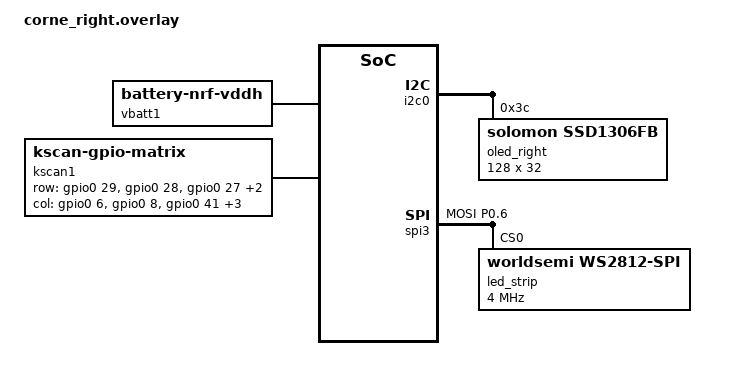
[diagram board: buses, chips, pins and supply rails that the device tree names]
#include <dt-bindings/led/led.h>
#include <dt-bindings/pinctrl/nrf-pinctrl.h>

/ {
    default_transform: default_transform {
        compatible = "zmk,matrix-transform";
        rows = <5>;
        columns = <6>;
    };

    soft_off: soft_off {
        compatible = "zmk,soft-off";
        hold-time-ms = <3000>;
    };

    vbatt1: vbatt {
        compatible = "zmk,battery-nrf-vddh";
    };

    kscan1: kscan {
        compatible = "zmk,kscan-gpio-matrix";

        row-gpios = <&gpio0 29 (GPIO_ACTIVE_HIGH | GPIO_PULL_DOWN)>,
                    <&gpio0 28 (GPIO_ACTIVE_HIGH | GPIO_PULL_DOWN)>,
                    <&gpio0 27 (GPIO_ACTIVE_HIGH | GPIO_PULL_DOWN)>,
                    <&gpio0 26 (GPIO_ACTIVE_HIGH | GPIO_PULL_DOWN)>,
                    <&gpio0 2  (GPIO_ACTIVE_HIGH | GPIO_PULL_DOWN)>;

        col-gpios = <&gpio0 6  GPIO_ACTIVE_HIGH>,
                    <&gpio0 8  GPIO_ACTIVE_HIGH>,
                    <&gpio0 41 GPIO_ACTIVE_HIGH>,
                    <&gpio0 30 GPIO_ACTIVE_HIGH>,
                    <&gpio0 45 GPIO_ACTIVE_HIGH>,
                    <&gpio0 13 GPIO_ACTIVE_HIGH>;

        diode-direction = "col2row";
        wakeup-source;
    };

    chosen {
        zmk,matrix-transform = &default_transform;
        zmk,battery = &vbatt1;
        zmk,underglow = &led_strip;
        zephyr,display = &oled_right;
    };
};

/* 128×32 SSD1306 on I2C0 — right half display. */
&i2c0 {
    status = "okay";

    oled_right: ssd1306@3c {
        compatible = "solomon,ssd1306fb";
        reg = <0x3c>;
        width = <128>;
        height = <32>;
        segment-offset = <0>;
        page-offset = <0>;
        display-offset = <0>;
        multiplex-ratio = <31>;
        segment-remap;
        com-invdir;
        prechargep = <0x22>;
    };
};

/* SPI3 drives the SK6812 LED chain on P0.06 (Pro Micro D1). */
&pinctrl {
    spi3_default: spi3_default {
        group1 {
            psels = <NRF_PSEL(SPIM_MOSI, 0, 6)>;
        };
    };
    spi3_sleep: spi3_sleep {
        group1 {
            psels = <NRF_PSEL(SPIM_MOSI, 0, 6)>;
            low-power-enable;
        };
    };
};

&spi3 {
    compatible = "nordic,nrf-spim";
    status = "okay";
    pinctrl-0 = <&spi3_default>;
    pinctrl-1 = <&spi3_sleep>;
    pinctrl-names = "default", "sleep";

    led_strip: ws2812@0 {
        compatible = "worldsemi,ws2812-spi";
        reg = <0>;
        spi-max-frequency = <4000000>;
        chain-length = <18>;
        spi-one-frame = <0x70>;
        spi-zero-frame = <0x40>;
        color-mapping = <LED_COLOR_ID_GREEN
                         LED_COLOR_ID_RED
                         LED_COLOR_ID_BLUE>;
    };
};
